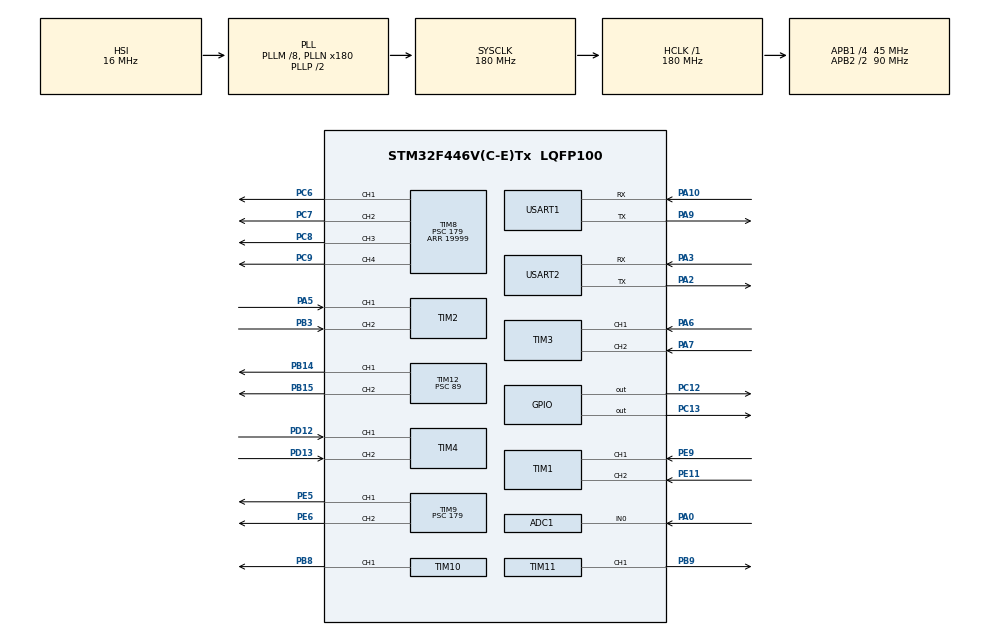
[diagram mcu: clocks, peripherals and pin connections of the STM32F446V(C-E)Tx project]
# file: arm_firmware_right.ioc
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ADC1.Channel-0\#ChannelRegularConversion=ADC_CHANNEL_0
ADC1.ContinuousConvMode=ENABLE
ADC1.DMAContinuousRequests=ENABLE
ADC1.NbrOfConversionFlag=1
ADC1.Rank-0\#ChannelRegularConversion=1
ADC1.SamplingTime-0\#ChannelRegularConversion=ADC_SAMPLETIME_480CYCLES
ADC1.master=1
Dma.ADC1.0.Direction=DMA_PERIPH_TO_MEMORY
Dma.ADC1.0.FIFOMode=DMA_FIFOMODE_DISABLE
Dma.ADC1.0.Instance=DMA2_Stream0
Dma.ADC1.0.MemDataAlignment=DMA_MDATAALIGN_HALFWORD
Dma.ADC1.0.MemInc=DMA_MINC_ENABLE
Dma.ADC1.0.Mode=DMA_CIRCULAR
Dma.ADC1.0.PeriphDataAlignment=DMA_PDATAALIGN_HALFWORD
Dma.ADC1.0.PeriphInc=DMA_PINC_DISABLE
Dma.ADC1.0.Priority=DMA_PRIORITY_LOW
Dma.Request0=ADC1
Mcu.Family=STM32F4
Mcu.Name=STM32F446V(C-E)Tx
Mcu.Package=LQFP100
NVIC.DMA2_Stream0_IRQn=true\:0\:0\:false\:false\:true\:false\:true\:true
NVIC.PriorityGroup=NVIC_PRIORITYGROUP_4
NVIC.USART1_IRQn=true\:0\:0\:false\:false\:true\:true\:true\:true
NVIC.USART2_IRQn=true\:0\:0\:false\:false\:true\:true\:true\:true
PA0-WKUP.Signal=ADCx_IN0
PA10.GPIO_PuPd=GPIO_PULLUP
PA10.Mode=Asynchronous
PA10.Signal=USART1_RX
PA13.Mode=Serial_Wire
PA13.Signal=SYS_JTMS-SWDIO
PA14.Mode=Serial_Wire
PA14.Signal=SYS_JTCK-SWCLK
PA2.Mode=Asynchronous
PA2.Signal=USART2_TX
PA3.Mode=Asynchronous
PA3.Signal=USART2_RX
PA5.Signal=S_TIM2_CH1_ETR
PA6.Signal=S_TIM3_CH1
PA7.Signal=S_TIM3_CH2
PA9.GPIO_PuPd=GPIO_PULLUP
PA9.Mode=Asynchronous
PA9.Signal=USART1_TX
PB14.Signal=S_TIM12_CH1
PB15.Signal=S_TIM12_CH2
PB3.Signal=S_TIM2_CH2
PB8.Signal=S_TIM10_CH1
PB9.Signal=S_TIM11_CH1
PC12.Signal=GPIO_Output
PC13.Signal=GPIO_Output
PC6.Signal=S_TIM8_CH1
PC7.Signal=S_TIM8_CH2
PC8.Signal=S_TIM8_CH3
PC9.Signal=S_TIM8_CH4
PD12.Signal=S_TIM4_CH1
PD13.Signal=S_TIM4_CH2
PE11.Signal=S_TIM1_CH2
PE5.Signal=S_TIM9_CH1
PE6.Signal=S_TIM9_CH2
PE9.Signal=S_TIM1_CH1
PH0-OSC_IN.Mode=HSE-External-Oscillator
PH0-OSC_IN.Signal=RCC_OSC_IN
PH1-OSC_OUT.Mode=HSE-External-Oscillator
PH1-OSC_OUT.Signal=RCC_OSC_OUT
ProjectManager.HeapSize=0x200
ProjectManager.StackSize=0x400
ProjectManager.TargetToolchain=STM32CubeIDE
RCC.AHBFreq_Value=180000000
RCC.APB1CLKDivider=RCC_HCLK_DIV4
RCC.APB1Freq_Value=45000000
RCC.APB1TimFreq_Value=90000000
RCC.APB2CLKDivider=RCC_HCLK_DIV2
RCC.APB2Freq_Value=90000000
RCC.APB2TimFreq_Value=180000000
RCC.CortexFreq_Value=180000000
RCC.HCLKFreq_Value=180000000
RCC.PLLM=8
RCC.PLLN=180
RCC.SYSCLKFreq_VALUE=180000000
RCC.SYSCLKSource=RCC_SYSCLKSOURCE_PLLCLK
RCC.USBFreq_Value=180000000
RCC.VCOOutputFreq_Value=360000000
SH.ADCx_IN0.0=ADC1_IN0,IN0
SH.S_TIM10_CH1.0=TIM10_CH1,PWM Generation1 CH1
SH.S_TIM11_CH1.0=TIM11_CH1,PWM Generation1 CH1
SH.S_TIM12_CH1.0=TIM12_CH1,PWM Generation1 CH1
SH.S_TIM12_CH2.0=TIM12_CH2,PWM Generation2 CH2
SH.S_TIM1_CH1.0=TIM1_CH1,Encoder_Interface
SH.S_TIM1_CH2.0=TIM1_CH2,Encoder_Interface
SH.S_TIM2_CH1_ETR.0=TIM2_CH1,Encoder_Interface
SH.S_TIM2_CH2.0=TIM2_CH2,Encoder_Interface
SH.S_TIM3_CH1.0=TIM3_CH1,Encoder_Interface
SH.S_TIM3_CH2.0=TIM3_CH2,Encoder_Interface
SH.S_TIM4_CH1.0=TIM4_CH1,Encoder_Interface
SH.S_TIM4_CH2.0=TIM4_CH2,Encoder_Interface
SH.S_TIM8_CH1.0=TIM8_CH1,PWM Generation1 CH1
SH.S_TIM8_CH2.0=TIM8_CH2,PWM Generation2 CH2
SH.S_TIM8_CH3.0=TIM8_CH3,PWM Generation3 CH3
SH.S_TIM8_CH4.0=TIM8_CH4,PWM Generation4 CH4
SH.S_TIM9_CH1.0=TIM9_CH1,PWM Generation1 CH1
SH.S_TIM9_CH2.0=TIM9_CH2,PWM Generation2 CH2
TIM1.EncoderMode=TIM_ENCODERMODE_TI12
TIM1.IC1Filter=8
TIM1.IC1Polarity=TIM_ICPOLARITY_FALLING
TIM1.IC2Filter=8
TIM10.Channel=TIM_CHANNEL_1
TIM10.Period=19999
TIM10.Prescaler=179
TIM10.Pulse=1525
TIM10.Pulse-PWM\ Generation1\ CH1=1500
TIM11.Channel=TIM_CHANNEL_1
TIM11.Period=19999
TIM11.Prescaler=179
TIM12.Channel-PWM\ Generation1\ CH1=TIM_CHANNEL_1
TIM12.Channel-PWM\ Generation2\ CH2=TIM_CHANNEL_2
TIM12.Period=19999
TIM12.Prescaler=89
TIM2.EncoderMode=TIM_ENCODERMODE_TI12
TIM2.IC1Filter=8
TIM2.IC1Polarity=TIM_ICPOLARITY_FALLING
TIM2.IC2Filter=8
TIM3.EncoderMode=TIM_ENCODERMODE_TI12
TIM3.IC1Filter=8
TIM3.IC1Polarity=TIM_ICPOLARITY_FALLING
TIM3.IC2Filter=8
TIM4.EncoderMode=TIM_ENCODERMODE_TI12
TIM4.IC1Filter=8
TIM4.IC1Polarity=TIM_ICPOLARITY_FALLING
TIM4.IC2Filter=8
TIM8.Channel-PWM\ Generation1\ CH1=TIM_CHANNEL_1
TIM8.Channel-PWM\ Generation2\ CH2=TIM_CHANNEL_2
TIM8.Channel-PWM\ Generation3\ CH3=TIM_CHANNEL_3
TIM8.Channel-PWM\ Generation4\ CH4=TIM_CHANNEL_4
TIM8.Period=19999
TIM8.Prescaler=179
TIM8.Pulse-PWM\ Generation1\ CH1=1525
TIM8.Pulse-PWM\ Generation2\ CH2=871
TIM8.Pulse-PWM\ Generation3\ CH3=1191
TIM8.Pulse-PWM\ Generation4\ CH4=1525
TIM9.Channel-PWM\ Generation1\ CH1=TIM_CHANNEL_1
TIM9.Channel-PWM\ Generation2\ CH2=TIM_CHANNEL_2
TIM9.Period=19999
TIM9.Prescaler=179
TIM9.Pulse-PWM\ Generation1\ CH1=1525
TIM9.Pulse-PWM\ Generation2\ CH2=1525
USART1.VirtualMode=VM_ASYNC
USART2.VirtualMode=VM_ASYNC
VP_TIM10_VS_ClockSourceINT.Mode=Enable_Timer
VP_TIM11_VS_ClockSourceINT.Mode=Enable_Timer
board=custom

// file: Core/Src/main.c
/* USER CODE BEGIN Header */
/**
 ******************************************************************************
 * @file           : main.c
 * @brief          : Main program body
 ******************************************************************************
 * @attention
 *
 * Copyright (c) 2026 STMicroelectronics.
 * All rights reserved.
 *
 * This software is licensed under terms that can be found in the LICENSE file
 * in the root directory of this software component.
 * If no LICENSE file comes with this software, it is provided AS-IS.
 *
 ******************************************************************************
 */
/* USER CODE END Header */
#include "main.h"

/* USER CODE BEGIN Includes */
#include "arm_protocol.h"
#include "encoder.h"
#include "joint_control.h"
#include "pid.h"
#include "servo.h"
#include <stdio.h>
#include <string.h>

/* USER CODE END Includes */

ADC_HandleTypeDef hadc1;
DMA_HandleTypeDef hdma_adc1;

TIM_HandleTypeDef htim1;
TIM_HandleTypeDef htim2;
TIM_HandleTypeDef htim3;
TIM_HandleTypeDef htim4;
TIM_HandleTypeDef htim8;
TIM_HandleTypeDef htim9;
TIM_HandleTypeDef htim10;
TIM_HandleTypeDef htim11;
TIM_HandleTypeDef htim12;

UART_HandleTypeDef huart1;
UART_HandleTypeDef huart2;

/* USER CODE BEGIN PV */
extern Encoder_t encoders[NUM_ENCODERS];

/* Current servo target angles (joint space, degrees) */
volatile float servo_deg[6] = {96.43f, 90.0f, 35.0f, 65.0f, 90, 0.0f};

volatile uint32_t adc_value = 0;

typedef enum {
  GRIPPER_IDLE = 0,
  GRIPPER_CLOSING,
  GRIPPER_OPENING
} GripperState_t;

volatile GripperState_t gripper_state = GRIPPER_IDLE;
volatile float gripper_angle = 0.0f;
volatile uint32_t dbg_adc_val_at_stop = 0;
volatile uint32_t dbg_gripper_stop_count = 0;
volatile uint8_t bypass_adc_check = 0;

/* -----------------------------------------------------------------------
 * Protocol V2.1 binary parser state (replaces legacy text "R:" parser)
 * Frame layout:
 *   [SOF1][SOF2][DEST][SRC][LEN_L][LEN_H][CMD][SEQ][PAYLOAD...][CRC_L][CRC_H]
 * ----------------------------------------------------------------------- */
static uint8_t arm_rx_byte;
static uint8_t rx_buffer[128];
static uint16_t rx_index = 0;
// static uint8_t  arm_dma_rx_buf[64];
//static uint8_t arm_frame_buf[ARM_PROTO_MAX_FRAME];
//static uint16_t arm_frame_idx = 0;
//static uint16_t arm_expected_len = 0;
//static uint8_t arm_parser_state = 0; /* 0=SOF1, 1=SOF2, 2=ACCUMULATE */
static uint8_t arm_last_seq = 0xFF;  /* for duplicate / stale drop  */

/* Last accepted joint positions in x100 (for Δθ guard) */
static int16_t arm_q_last[6] = {9643, 3500, 0, 0, 6000, 0};
/* Initial values match servo init: q0=96.43°, q1=35°, q2=0°, q3=0°, q4=60°,
 * q5=0° on the 0..90° joint-6 servo. */

/* Debug counters */
volatile uint32_t dbg_rx_ok = 0;
volatile uint32_t dbg_rx_delta = 0; /* frames dropped by Δθ guard */
volatile uint32_t dbg_rx_crc = 0;
volatile uint32_t dbg_rx_len = 0;
volatile uint32_t dbg_rx_raw_count = 0;
volatile uint32_t dbg_rx_line_count = 0;
volatile uint32_t dbg_rx_no_star = 0;
volatile uint32_t dbg_rx_bad_hex = 0;
volatile uint32_t dbg_rx_bad_prefix = 0;
volatile uint8_t dbg_rx_last_byte = 0;
volatile char dbg_rx_last_line[128] = {0};
/* USER CODE END PV */

void SystemClock_Config(void);
static void MX_GPIO_Init(void);
static void MX_DMA_Init(void);
static void MX_TIM1_Init(void);
static void MX_TIM2_Init(void);
static void MX_TIM3_Init(void);
static void MX_TIM4_Init(void);
static void MX_TIM8_Init(void);
static void MX_TIM9_Init(void);
static void MX_TIM12_Init(void);
static void MX_TIM10_Init(void);
static void MX_TIM11_Init(void);
static void MX_USART1_UART_Init(void);
static void MX_USART2_UART_Init(void);
static void MX_ADC1_Init(void);
/* USER CODE BEGIN PFP */
static void ARM_Proto_ResetParser(void);
/* USER CODE END PFP */

int main(void)
{

  /* MCU Configuration--------------------------------------------------------*/

  /* Reset of all peripherals, Initializes the Flash interface and the Systick. */
  HAL_Init();

  /* Configure the system clock */
  SystemClock_Config();

  /* Initialize all configured peripherals */
  MX_GPIO_Init();
  MX_DMA_Init();
  MX_TIM1_Init();
  MX_TIM2_Init();
  MX_TIM3_Init();
  MX_TIM4_Init();
  MX_TIM8_Init();
  MX_TIM9_Init();
  MX_TIM12_Init();
  MX_TIM10_Init();
  MX_TIM11_Init();
  MX_USART1_UART_Init();
  MX_USART2_UART_Init();
  MX_ADC1_Init();
  /* USER CODE BEGIN 2 */
  Servo_Init();

  Encoder_Init();

  //  JointControl_Init();
  ARM_Proto_ResetParser();

  // Test loopback check: gửi 1 byte và nhận lại ngay lập tức qua polling để
  // test loopback RX-TX
  //  uint8_t tx_byte = 0xAA;
  //  uint8_t rx_byte = 0;
  //  HAL_UART_Transmit(&huart2, &tx_byte, 1, 10);
  //  HAL_StatusTypeDef poll_res = HAL_UART_Receive(&huart2, &rx_byte, 1, 100);
  //  // Đợi tối đa 100ms if (poll_res == HAL_OK && rx_byte == 0xAA) {
  //      dbg_rx_raw_count = 9999; // Loopback thành công! (STM32 truyền nhận
  //      nội bộ và chân GPIO OK)
  //  } else {
  //      dbg_rx_raw_count = 8880 + (uint32_t)poll_res; // Lỗi: 8883 nếu không
  //      nhận lại được
  //  }

  if (HAL_ADC_Start_DMA(&hadc1, (uint32_t*)&adc_value, 1) != HAL_OK)
  {
    Error_Handler();
  }
  HAL_UART_Receive_IT(&huart2, &arm_rx_byte, 1);
  /* USER CODE END 2 */

  /* Infinite loop */
  while (1) {

    /* USER CODE BEGIN 3 */
    // JointControl_Update(0.010f);
    //    HAL_GPIO_TogglePin(GPIOC, GPIO_PIN_12);
    //
    //    HAL_Delay(20);
    //
    //    HAL_GPIO_TogglePin(GPIOC, GPIO_PIN_13);
    //    Encoder_Update();

    // Debug: xem raw counter từng encoder
    //    dbg_enc0 = (int32_t)TIM1->CNT;
    //    dbg_enc1 = (int32_t)TIM2->CNT;
    //    dbg_enc2 = (int32_t)TIM3->CNT;
    //    dbg_enc3 = (int32_t)TIM4->CNT;
    //    dbg_enc4 = (int32_t)TIM5->CNT;

    /* Auto-recovery from ADC Overrun (OVR) to keep ADC/DMA running */
    if (__HAL_ADC_GET_FLAG(&hadc1, ADC_FLAG_OVR)) {
      __HAL_ADC_CLEAR_FLAG(&hadc1, ADC_FLAG_OVR);
      hadc1.Instance->CR2 |= (uint32_t)ADC_CR2_SWSTART;
    }

    /* Gripper closed-loop control with ADC force feedback */
    if (bypass_adc_check == 2) {
      /* Diagnostic sweep mode: sweeps gripper_angle between 0 and 45 continuously */
      static int8_t sweep_dir = 1;
      if (sweep_dir == 1) {
        gripper_angle += 1.0f;
        if (gripper_angle >= 60.0f) {
          gripper_angle = 60.0f;
          sweep_dir = -1;
        }
      } else {
        gripper_angle -= 1.0f;
        if (gripper_angle <= 0.0f) {
          gripper_angle = 0.0f;
          sweep_dir = 1;
        }
      }
      gripper_state = GRIPPER_IDLE;
    } else if (gripper_state == GRIPPER_CLOSING) {
      if (bypass_adc_check == 0 && adc_value < 2500) {
        dbg_adc_val_at_stop = adc_value;
        dbg_gripper_stop_count++;
        gripper_state = GRIPPER_IDLE; /* Stop immediately! */
      } else {
        gripper_angle += 0.5f; /* Moderate speed: 0.5 deg per 10ms (50 deg/sec) */
        if (gripper_angle > 45.0f) {
          gripper_angle = 45.0f;
          gripper_state = GRIPPER_IDLE;
        }
      }
    } else if (gripper_state == GRIPPER_OPENING) {
      gripper_angle -= 1.0f; /* Opening speed: 1.0 deg per 10ms */
      if (gripper_angle < 0.0f) {
        gripper_angle = 0.0f;
        gripper_state = GRIPPER_IDLE;
      }
    }

    Set_Servo_Angle(0, servo_deg[1]);
    Set_Servo_Angle(1, servo_deg[2]);
    Set_Servo_Angle(2, servo_deg[3]);
    Set_Servo_Angle(3, servo_deg[4]);
    Set_Servo_Angle(4, servo_deg[5]);
    Set_Servo_Angle(5, gripper_angle); /* Command the gripper servo */
    Set_Servo_Angle(6, servo_deg[0]);
    HAL_Delay(10);

    // Call test pattern for PWM output testing
    //    Servo_Test_Patterns();
  }
  /* USER CODE END 3 */
}

void SystemClock_Config(void)
{
  RCC_OscInitTypeDef RCC_OscInitStruct = {0};
  RCC_ClkInitTypeDef RCC_ClkInitStruct = {0};

  /** Configure the main internal regulator output voltage
  */
  __HAL_RCC_PWR_CLK_ENABLE();
  __HAL_PWR_VOLTAGESCALING_CONFIG(PWR_REGULATOR_VOLTAGE_SCALE1);

  /** Initializes the RCC Oscillators according to the specified parameters
  * in the RCC_OscInitTypeDef structure.
  */
  RCC_OscInitStruct.OscillatorType = RCC_OSCILLATORTYPE_HSI;
  RCC_OscInitStruct.HSIState = RCC_HSI_ON;
  RCC_OscInitStruct.HSICalibrationValue = RCC_HSICALIBRATION_DEFAULT;
  RCC_OscInitStruct.PLL.PLLState = RCC_PLL_ON;
  RCC_OscInitStruct.PLL.PLLSource = RCC_PLLSOURCE_HSI;
  RCC_OscInitStruct.PLL.PLLM = 8;
  RCC_OscInitStruct.PLL.PLLN = 180;
  RCC_OscInitStruct.PLL.PLLP = RCC_PLLP_DIV2;
  RCC_OscInitStruct.PLL.PLLQ = 2;
  RCC_OscInitStruct.PLL.PLLR = 2;
  if (HAL_RCC_OscConfig(&RCC_OscInitStruct) != HAL_OK)
  {
    Error_Handler();
  }

  /** Activate the Over-Drive mode
  */
  if (HAL_PWREx_EnableOverDrive() != HAL_OK)
  {
    Error_Handler();
  }

  /** Initializes the CPU, AHB and APB buses clocks
  */
  RCC_ClkInitStruct.ClockType = RCC_CLOCKTYPE_HCLK|RCC_CLOCKTYPE_SYSCLK
                              |RCC_CLOCKTYPE_PCLK1|RCC_CLOCKTYPE_PCLK2;
  RCC_ClkInitStruct.SYSCLKSource = RCC_SYSCLKSOURCE_PLLCLK;
  RCC_ClkInitStruct.AHBCLKDivider = RCC_SYSCLK_DIV1;
  RCC_ClkInitStruct.APB1CLKDivider = RCC_HCLK_DIV4;
  RCC_ClkInitStruct.APB2CLKDivider = RCC_HCLK_DIV2;

  if (HAL_RCC_ClockConfig(&RCC_ClkInitStruct, FLASH_LATENCY_5) != HAL_OK)
  {
    Error_Handler();
  }
}

static void MX_ADC1_Init(void)
{

  ADC_ChannelConfTypeDef sConfig = {0};

  /** Configure the global features of the ADC (Clock, Resolution, Data Alignment and number of conversion)
  */
  hadc1.Instance = ADC1;
  hadc1.Init.ClockPrescaler = ADC_CLOCK_SYNC_PCLK_DIV4;
  hadc1.Init.Resolution = ADC_RESOLUTION_12B;
  hadc1.Init.ScanConvMode = DISABLE;
  hadc1.Init.ContinuousConvMode = ENABLE;
  hadc1.Init.DiscontinuousConvMode = DISABLE;
  hadc1.Init.ExternalTrigConvEdge = ADC_EXTERNALTRIGCONVEDGE_NONE;
  hadc1.Init.ExternalTrigConv = ADC_SOFTWARE_START;
  hadc1.Init.DataAlign = ADC_DATAALIGN_RIGHT;
  hadc1.Init.NbrOfConversion = 1;
  hadc1.Init.DMAContinuousRequests = ENABLE;
  hadc1.Init.EOCSelection = ADC_EOC_SINGLE_CONV;
  if (HAL_ADC_Init(&hadc1) != HAL_OK)
  {
    Error_Handler();
  }

  /** Configure for the selected ADC regular channel its corresponding rank in the sequencer and its sample time.
  */
  sConfig.Channel = ADC_CHANNEL_0;
  sConfig.Rank = 1;
  sConfig.SamplingTime = ADC_SAMPLETIME_480CYCLES;
  if (HAL_ADC_ConfigChannel(&hadc1, &sConfig) != HAL_OK)
  {
    Error_Handler();
  }
  /* USER CODE BEGIN ADC1_Init 2 */
  hadc1.Init.DMAContinuousRequests = ENABLE;
  if (HAL_ADC_Init(&hadc1) != HAL_OK)
  {
    Error_Handler();
  }
  /* USER CODE END ADC1_Init 2 */

}

static void MX_TIM1_Init(void)
{

  TIM_Encoder_InitTypeDef sConfig = {0};
  TIM_MasterConfigTypeDef sMasterConfig = {0};

  htim1.Instance = TIM1;
  htim1.Init.Prescaler = 0;
  htim1.Init.CounterMode = TIM_COUNTERMODE_UP;
  htim1.Init.Period = 65535;
  htim1.Init.ClockDivision = TIM_CLOCKDIVISION_DIV1;
  htim1.Init.RepetitionCounter = 0;
  htim1.Init.AutoReloadPreload = TIM_AUTORELOAD_PRELOAD_DISABLE;
  sConfig.EncoderMode = TIM_ENCODERMODE_TI12;
  sConfig.IC1Polarity = TIM_ICPOLARITY_FALLING;
  sConfig.IC1Selection = TIM_ICSELECTION_DIRECTTI;
  sConfig.IC1Prescaler = TIM_ICPSC_DIV1;
  sConfig.IC1Filter = 8;
  sConfig.IC2Polarity = TIM_ICPOLARITY_RISING;
  sConfig.IC2Selection = TIM_ICSELECTION_DIRECTTI;
  sConfig.IC2Prescaler = TIM_ICPSC_DIV1;
  sConfig.IC2Filter = 8;
  if (HAL_TIM_Encoder_Init(&htim1, &sConfig) != HAL_OK)
  {
    Error_Handler();
  }
  sMasterConfig.MasterOutputTrigger = TIM_TRGO_RESET;
  sMasterConfig.MasterSlaveMode = TIM_MASTERSLAVEMODE_DISABLE;
  if (HAL_TIMEx_MasterConfigSynchronization(&htim1, &sMasterConfig) != HAL_OK)
  {
    Error_Handler();
  }

}

static void MX_TIM2_Init(void)
{

  TIM_Encoder_InitTypeDef sConfig = {0};
  TIM_MasterConfigTypeDef sMasterConfig = {0};

  htim2.Instance = TIM2;
  htim2.Init.Prescaler = 0;
  htim2.Init.CounterMode = TIM_COUNTERMODE_UP;
  htim2.Init.Period = 4294967295;
  htim2.Init.ClockDivision = TIM_CLOCKDIVISION_DIV1;
  htim2.Init.AutoReloadPreload = TIM_AUTORELOAD_PRELOAD_DISABLE;
  sConfig.EncoderMode = TIM_ENCODERMODE_TI12;
  sConfig.IC1Polarity = TIM_ICPOLARITY_FALLING;
  sConfig.IC1Selection = TIM_ICSELECTION_DIRECTTI;
  sConfig.IC1Prescaler = TIM_ICPSC_DIV1;
  sConfig.IC1Filter = 8;
  sConfig.IC2Polarity = TIM_ICPOLARITY_RISING;
  sConfig.IC2Selection = TIM_ICSELECTION_DIRECTTI;
  sConfig.IC2Prescaler = TIM_ICPSC_DIV1;
  sConfig.IC2Filter = 8;
  if (HAL_TIM_Encoder_Init(&htim2, &sConfig) != HAL_OK)
  {
    Error_Handler();
  }
  sMasterConfig.MasterOutputTrigger = TIM_TRGO_RESET;
  sMasterConfig.MasterSlaveMode = TIM_MASTERSLAVEMODE_DISABLE;
  if (HAL_TIMEx_MasterConfigSynchronization(&htim2, &sMasterConfig) != HAL_OK)
  {
    Error_Handler();
  }

}

static void MX_TIM3_Init(void)
{

  TIM_Encoder_InitTypeDef sConfig = {0};
  TIM_MasterConfigTypeDef sMasterConfig = {0};

  htim3.Instance = TIM3;
  htim3.Init.Prescaler = 0;
  htim3.Init.CounterMode = TIM_COUNTERMODE_UP;
  htim3.Init.Period = 65535;
  htim3.Init.ClockDivision = TIM_CLOCKDIVISION_DIV1;
  htim3.Init.AutoReloadPreload = TIM_AUTORELOAD_PRELOAD_DISABLE;
  sConfig.EncoderMode = TIM_ENCODERMODE_TI12;
  sConfig.IC1Polarity = TIM_ICPOLARITY_FALLING;
  sConfig.IC1Selection = TIM_ICSELECTION_DIRECTTI;
  sConfig.IC1Prescaler = TIM_ICPSC_DIV1;
  sConfig.IC1Filter = 8;
  sConfig.IC2Polarity = TIM_ICPOLARITY_RISING;
  sConfig.IC2Selection = TIM_ICSELECTION_DIRECTTI;
  sConfig.IC2Prescaler = TIM_ICPSC_DIV1;
  sConfig.IC2Filter = 8;
  if (HAL_TIM_Encoder_Init(&htim3, &sConfig) != HAL_OK)
  {
    Error_Handler();
  }
  sMasterConfig.MasterOutputTrigger = TIM_TRGO_RESET;
  sMasterConfig.MasterSlaveMode = TIM_MASTERSLAVEMODE_DISABLE;
  if (HAL_TIMEx_MasterConfigSynchronization(&htim3, &sMasterConfig) != HAL_OK)
  {
    Error_Handler();
  }

}

static void MX_TIM4_Init(void)
{

  TIM_Encoder_InitTypeDef sConfig = {0};
  TIM_MasterConfigTypeDef sMasterConfig = {0};

  htim4.Instance = TIM4;
  htim4.Init.Prescaler = 0;
  htim4.Init.CounterMode = TIM_COUNTERMODE_UP;
  htim4.Init.Period = 65535;
  htim4.Init.ClockDivision = TIM_CLOCKDIVISION_DIV1;
  htim4.Init.AutoReloadPreload = TIM_AUTORELOAD_PRELOAD_DISABLE;
  sConfig.EncoderMode = TIM_ENCODERMODE_TI12;
  sConfig.IC1Polarity = TIM_ICPOLARITY_FALLING;
  sConfig.IC1Selection = TIM_ICSELECTION_DIRECTTI;
  sConfig.IC1Prescaler = TIM_ICPSC_DIV1;
  sConfig.IC1Filter = 8;
  sConfig.IC2Polarity = TIM_ICPOLARITY_RISING;
  sConfig.IC2Selection = TIM_ICSELECTION_DIRECTTI;
  sConfig.IC2Prescaler = TIM_ICPSC_DIV1;
  sConfig.IC2Filter = 8;
  if (HAL_TIM_Encoder_Init(&htim4, &sConfig) != HAL_OK)
  {
    Error_Handler();
  }
  sMasterConfig.MasterOutputTrigger = TIM_TRGO_RESET;
  sMasterConfig.MasterSlaveMode = TIM_MASTERSLAVEMODE_DISABLE;
  if (HAL_TIMEx_MasterConfigSynchronization(&htim4, &sMasterConfig) != HAL_OK)
  {
    Error_Handler();
  }

}

static void MX_TIM8_Init(void)
{

  TIM_MasterConfigTypeDef sMasterConfig = {0};
  TIM_OC_InitTypeDef sConfigOC = {0};
  TIM_BreakDeadTimeConfigTypeDef sBreakDeadTimeConfig = {0};

  htim8.Instance = TIM8;
  htim8.Init.Prescaler = 179;
  htim8.Init.CounterMode = TIM_COUNTERMODE_UP;
  htim8.Init.Period = 19999;
  htim8.Init.ClockDivision = TIM_CLOCKDIVISION_DIV1;
  htim8.Init.RepetitionCounter = 0;
  htim8.Init.AutoReloadPreload = TIM_AUTORELOAD_PRELOAD_DISABLE;
  if (HAL_TIM_PWM_Init(&htim8) != HAL_OK)
  {
    Error_Handler();
  }
  sMasterConfig.MasterOutputTrigger = TIM_TRGO_RESET;
  sMasterConfig.MasterSlaveMode = TIM_MASTERSLAVEMODE_DISABLE;
  if (HAL_TIMEx_MasterConfigSynchronization(&htim8, &sMasterConfig) != HAL_OK)
  {
    Error_Handler();
  }
  sConfigOC.OCMode = TIM_OCMODE_PWM1;
  sConfigOC.Pulse = 1525;
  sConfigOC.OCPolarity = TIM_OCPOLARITY_HIGH;
  sConfigOC.OCNPolarity = TIM_OCNPOLARITY_HIGH;
  sConfigOC.OCFastMode = TIM_OCFAST_DISABLE;
  sConfigOC.OCIdleState = TIM_OCIDLESTATE_RESET;
  sConfigOC.OCNIdleState = TIM_OCNIDLESTATE_RESET;
  if (HAL_TIM_PWM_ConfigChannel(&htim8, &sConfigOC, TIM_CHANNEL_1) != HAL_OK)
  {
    Error_Handler();
  }
  sConfigOC.Pulse = 871;
  if (HAL_TIM_PWM_ConfigChannel(&htim8, &sConfigOC, TIM_CHANNEL_2) != HAL_OK)
  {
    Error_Handler();
  }
  sConfigOC.Pulse = 1191;
  if (HAL_TIM_PWM_ConfigChannel(&htim8, &sConfigOC, TIM_CHANNEL_3) != HAL_OK)
  {
    Error_Handler();
  }
  sConfigOC.Pulse = 1525;
  if (HAL_TIM_PWM_ConfigChannel(&htim8, &sConfigOC, TIM_CHANNEL_4) != HAL_OK)
  {
    Error_Handler();
  }
  sBreakDeadTimeConfig.OffStateRunMode = TIM_OSSR_DISABLE;
  sBreakDeadTimeConfig.OffStateIDLEMode = TIM_OSSI_DISABLE;
  sBreakDeadTimeConfig.LockLevel = TIM_LOCKLEVEL_OFF;
  sBreakDeadTimeConfig.DeadTime = 0;
  sBreakDeadTimeConfig.BreakState = TIM_BREAK_DISABLE;
  sBreakDeadTimeConfig.BreakPolarity = TIM_BREAKPOLARITY_HIGH;
  sBreakDeadTimeConfig.AutomaticOutput = TIM_AUTOMATICOUTPUT_DISABLE;
  if (HAL_TIMEx_ConfigBreakDeadTime(&htim8, &sBreakDeadTimeConfig) != HAL_OK)
  {
    Error_Handler();
  }
  HAL_TIM_MspPostInit(&htim8);

}

static void MX_TIM9_Init(void)
{

  TIM_OC_InitTypeDef sConfigOC = {0};

  htim9.Instance = TIM9;
  htim9.Init.Prescaler = 179;
  htim9.Init.CounterMode = TIM_COUNTERMODE_UP;
  htim9.Init.Period = 19999;
  htim9.Init.ClockDivision = TIM_CLOCKDIVISION_DIV1;
  htim9.Init.AutoReloadPreload = TIM_AUTORELOAD_PRELOAD_DISABLE;
  if (HAL_TIM_PWM_Init(&htim9) != HAL_OK)
  {
    Error_Handler();
  }
  sConfigOC.OCMode = TIM_OCMODE_PWM1;
  sConfigOC.Pulse = 1525;
  sConfigOC.OCPolarity = TIM_OCPOLARITY_HIGH;
  sConfigOC.OCFastMode = TIM_OCFAST_DISABLE;
  if (HAL_TIM_PWM_ConfigChannel(&htim9, &sConfigOC, TIM_CHANNEL_1) != HAL_OK)
  {
    Error_Handler();
  }
  if (HAL_TIM_PWM_ConfigChannel(&htim9, &sConfigOC, TIM_CHANNEL_2) != HAL_OK)
  {
    Error_Handler();
  }
  HAL_TIM_MspPostInit(&htim9);

}

static void MX_TIM10_Init(void)
{

  TIM_OC_InitTypeDef sConfigOC = {0};

  htim10.Instance = TIM10;
  htim10.Init.Prescaler = 179;
  htim10.Init.CounterMode = TIM_COUNTERMODE_UP;
  htim10.Init.Period = 19999;
  htim10.Init.ClockDivision = TIM_CLOCKDIVISION_DIV1;
  htim10.Init.AutoReloadPreload = TIM_AUTORELOAD_PRELOAD_DISABLE;
  if (HAL_TIM_Base_Init(&htim10) != HAL_OK)
  {
    Error_Handler();
  }
  if (HAL_TIM_PWM_Init(&htim10) != HAL_OK)
  {
    Error_Handler();
  }
  sConfigOC.OCMode = TIM_OCMODE_PWM1;
  sConfigOC.Pulse = 1525;
  sConfigOC.OCPolarity = TIM_OCPOLARITY_HIGH;
  sConfigOC.OCFastMode = TIM_OCFAST_DISABLE;
  if (HAL_TIM_PWM_ConfigChannel(&htim10, &sConfigOC, TIM_CHANNEL_1) != HAL_OK)
  {
    Error_Handler();
  }
  HAL_TIM_MspPostInit(&htim10);

}

static void MX_TIM11_Init(void)
{

  TIM_OC_InitTypeDef sConfigOC = {0};

  htim11.Instance = TIM11;
  htim11.Init.Prescaler = 179;
  htim11.Init.CounterMode = TIM_COUNTERMODE_UP;
  htim11.Init.Period = 19999;
  htim11.Init.ClockDivision = TIM_CLOCKDIVISION_DIV1;
  htim11.Init.AutoReloadPreload = TIM_AUTORELOAD_PRELOAD_DISABLE;
  if (HAL_TIM_Base_Init(&htim11) != HAL_OK)
  {
    Error_Handler();
  }
  if (HAL_TIM_PWM_Init(&htim11) != HAL_OK)
  {
    Error_Handler();
  }
  sConfigOC.OCMode = TIM_OCMODE_PWM1;
  sConfigOC.Pulse = 0;
  sConfigOC.OCPolarity = TIM_OCPOLARITY_HIGH;
  sConfigOC.OCFastMode = TIM_OCFAST_DISABLE;
  if (HAL_TIM_PWM_ConfigChannel(&htim11, &sConfigOC, TIM_CHANNEL_1) != HAL_OK)
  {
    Error_Handler();
  }
  HAL_TIM_MspPostInit(&htim11);

}

static void MX_TIM12_Init(void)
{

  TIM_OC_InitTypeDef sConfigOC = {0};

  htim12.Instance = TIM12;
  htim12.Init.Prescaler = 89;
  htim12.Init.CounterMode = TIM_COUNTERMODE_UP;
  htim12.Init.Period = 19999;
  htim12.Init.ClockDivision = TIM_CLOCKDIVISION_DIV1;
  htim12.Init.AutoReloadPreload = TIM_AUTORELOAD_PRELOAD_DISABLE;
  if (HAL_TIM_PWM_Init(&htim12) != HAL_OK)
  {
    Error_Handler();
  }
  sConfigOC.OCMode = TIM_OCMODE_PWM1;
  sConfigOC.Pulse = 0;
  sConfigOC.OCPolarity = TIM_OCPOLARITY_HIGH;
  sConfigOC.OCFastMode = TIM_OCFAST_DISABLE;
  if (HAL_TIM_PWM_ConfigChannel(&htim12, &sConfigOC, TIM_CHANNEL_1) != HAL_OK)
  {
    Error_Handler();
  }
  if (HAL_TIM_PWM_ConfigChannel(&htim12, &sConfigOC, TIM_CHANNEL_2) != HAL_OK)
  {
    Error_Handler();
  }
  HAL_TIM_MspPostInit(&htim12);

}

static void MX_USART1_UART_Init(void)
{

  huart1.Instance = USART1;
  huart1.Init.BaudRate = 115200;
  huart1.Init.WordLength = UART_WORDLENGTH_8B;
  huart1.Init.StopBits = UART_STOPBITS_1;
  huart1.Init.Parity = UART_PARITY_NONE;
  huart1.Init.Mode = UART_MODE_TX_RX;
  huart1.Init.HwFlowCtl = UART_HWCONTROL_NONE;
  huart1.Init.OverSampling = UART_OVERSAMPLING_16;
  if (HAL_UART_Init(&huart1) != HAL_OK)
  {
    Error_Handler();
  }

}

static void MX_USART2_UART_Init(void)
{

  huart2.Instance = USART2;
  huart2.Init.BaudRate = 115200;
  huart2.Init.WordLength = UART_WORDLENGTH_8B;
  huart2.Init.StopBits = UART_STOPBITS_1;
  huart2.Init.Parity = UART_PARITY_NONE;
  huart2.Init.Mode = UART_MODE_TX_RX;
  huart2.Init.HwFlowCtl = UART_HWCONTROL_NONE;
  huart2.Init.OverSampling = UART_OVERSAMPLING_16;
  if (HAL_UART_Init(&huart2) != HAL_OK)
  {
    Error_Handler();
  }

}

static void MX_DMA_Init(void)
{

  /* DMA controller clock enable */
  __HAL_RCC_DMA2_CLK_ENABLE();

  /* DMA interrupt init */
  /* DMA2_Stream0_IRQn interrupt configuration */
  HAL_NVIC_SetPriority(DMA2_Stream0_IRQn, 0, 0);
  HAL_NVIC_EnableIRQ(DMA2_Stream0_IRQn);

}

static void MX_GPIO_Init(void)
{
  GPIO_InitTypeDef GPIO_InitStruct = {0};

  /* GPIO Ports Clock Enable */
  __HAL_RCC_GPIOE_CLK_ENABLE();
  __HAL_RCC_GPIOC_CLK_ENABLE();
  __HAL_RCC_GPIOH_CLK_ENABLE();
  __HAL_RCC_GPIOA_CLK_ENABLE();
  __HAL_RCC_GPIOB_CLK_ENABLE();
  __HAL_RCC_GPIOD_CLK_ENABLE();

  /*Configure GPIO pin Output Level */
  HAL_GPIO_WritePin(GPIOC, GPIO_PIN_13|GPIO_PIN_12, GPIO_PIN_RESET);

  /*Configure GPIO pins : PC13 PC12 */
  GPIO_InitStruct.Pin = GPIO_PIN_13|GPIO_PIN_12;
  GPIO_InitStruct.Mode = GPIO_MODE_OUTPUT_PP;
  GPIO_InitStruct.Pull = GPIO_NOPULL;
  GPIO_InitStruct.Speed = GPIO_SPEED_FREQ_LOW;
  HAL_GPIO_Init(GPIOC, &GPIO_InitStruct);

}

/* USER CODE BEGIN 4 */
static void ARM_Proto_ProcessFrame(const uint8_t *frame, uint16_t frame_len) {
  /* Basic sanity */
  if (frame_len < ARM_PROTO_FRAME_OVERHEAD)
    return;
  if (frame[ARM_PROTO_OFF_SOF1] != ARM_PROTO_SOF1)
    return;
  if (frame[ARM_PROTO_OFF_SOF2] != ARM_PROTO_SOF2)
    return;

  uint8_t dest = frame[ARM_PROTO_OFF_DEST];
  uint8_t cmd = frame[ARM_PROTO_OFF_CMD];
  uint8_t seq = frame[ARM_PROTO_OFF_SEQ];
  uint16_t payload_len = ARM_Proto_ReadU16LE(&frame[ARM_PROTO_OFF_LEN_L]);

  /* DEST filter — accept own address or broadcast */
  if (dest != ARM_PROTO_MY_ADDR && dest != ARM_PROTO_ADDR_BROADCAST)
    return;

  /* SEQ dedup: drop frames with same SEQ as last processed (duplicate TX) */
  if (seq == arm_last_seq && cmd == ARM_PROTO_CMD_ARM_JOINT)
    return;

  /* CRC: covers bytes [DEST .. last PAYLOAD byte] = 6 + payload_len bytes */
  uint16_t rx_crc = ARM_Proto_ReadU16LE(&frame[8u + payload_len]);
  uint16_t calc_crc = ARM_Proto_Crc16(&frame[2], (uint16_t)(6u + payload_len));
  if (rx_crc != calc_crc) {
    dbg_rx_crc++;
    return;
  }

  const uint8_t *payload = &frame[ARM_PROTO_OFF_PAYLOAD];

  switch (cmd) {
  case ARM_PROTO_CMD_ARM_JOINT: {
    if (payload_len != ARM_PROTO_PAYLOAD_JOINT) {
      dbg_rx_len++;
      return;
    }

    uint8_t motion_mode = payload[0];
    uint16_t max_delta_x100 = ARM_Proto_ReadU16LE(&payload[16]);

    int16_t q_new[6];
    q_new[0] = ARM_Proto_ReadS16LE(&payload[2]);
    q_new[1] = ARM_Proto_ReadS16LE(&payload[4]);
    q_new[2] = ARM_Proto_ReadS16LE(&payload[6]);
    q_new[3] = ARM_Proto_ReadS16LE(&payload[8]);
    q_new[4] = ARM_Proto_ReadS16LE(&payload[10]);
    q_new[5] = ARM_Proto_ReadS16LE(&payload[12]);

    /* Δθ guard — drop frame if any joint exceeds max_delta_x100 */
    if (max_delta_x100 > 0u) {
      for (int i = 0; i < 6; i++) {
        int32_t delta = (int32_t)q_new[i] - (int32_t)arm_q_last[i];
        if (delta < 0)
          delta = -delta;
        if ((uint16_t)delta > max_delta_x100) {
          dbg_rx_delta++;
          return;
        }
      }
    }

    /* Apply motion */
    if (motion_mode == ARM_PROTO_MOTION_ABS ||
        motion_mode == ARM_PROTO_MOTION_HOME) {

//      for (int i = 0; i < 6; i++) {
//        servo_deg[i] = ARM_Proto_X100ToDeg(q_new[i]);
//      }
    		servo_deg[0] = -ARM_Proto_X100ToDeg(q_new[0])+96.43;
        servo_deg[1] = -ARM_Proto_X100ToDeg(q_new[1])+90;
        servo_deg[2] = ARM_Proto_X100ToDeg(q_new[2])+35;
        servo_deg[3] = 65-ARM_Proto_X100ToDeg(q_new[3]);
        servo_deg[4] = -ARM_Proto_X100ToDeg(q_new[4])+90;
        servo_deg[5] = ARM_Proto_X100ToDeg(q_new[5]);
      /* Update last accepted position */
      for (int i = 0; i < 6; i++)
        arm_q_last[i] = q_new[i];
      arm_last_seq = seq;
      dbg_rx_ok++;

    } else if (motion_mode == ARM_PROTO_MOTION_ESTOP) {
      arm_last_seq = seq;
    }
    break;
  }

  case ARM_PROTO_CMD_ARM_GRIPPER: {
    if (payload_len != ARM_PROTO_PAYLOAD_GRIPPER) {
      dbg_rx_len++;
      return;
    }
    uint8_t action = payload[0];
    if (action == 1) { /* grip */
      gripper_state = GRIPPER_CLOSING;
    } else if (action == 0) { /* release */
      gripper_state = GRIPPER_OPENING;
    } else if (action == 2) { /* toggle */
      if (gripper_state == GRIPPER_CLOSING || gripper_angle > 90.0f) {
        gripper_state = GRIPPER_OPENING;
      } else {
        gripper_state = GRIPPER_CLOSING;
      }
    }
    arm_last_seq = seq;
    dbg_rx_ok++;
    break;
  }

  default:
    break;
  }
}

void HAL_UART_RxCpltCallback(UART_HandleTypeDef *huart) {
  if (huart->Instance == USART2) {
    dbg_rx_raw_count++;
    uint8_t b = arm_rx_byte;
    dbg_rx_last_byte = b;

    if (b == '\n' || b == '\r') {
      if (rx_index > 0) {
        rx_buffer[rx_index] = '\0';

        // Copy to debug buffer
        strncpy((char *)dbg_rx_last_line, (char *)rx_buffer,
                sizeof(dbg_rx_last_line) - 1);
        dbg_rx_last_line[sizeof(dbg_rx_last_line) - 1] = '\0';
        dbg_rx_line_count++;

        if (strcmp((char *)rx_buffer, "R:GRIP") == 0 || strcmp((char *)rx_buffer, "L:GRIP") == 0) {
          gripper_state = GRIPPER_CLOSING;
          dbg_rx_ok++;
          rx_index = 0;
        } else if (strcmp((char *)rx_buffer, "R:RELEASE") == 0 || strcmp((char *)rx_buffer, "L:RELEASE") == 0) {
          gripper_state = GRIPPER_OPENING;
          dbg_rx_ok++;
          rx_index = 0;
        } else {
          // Check checksum
          char *star = strchr((char *)rx_buffer, '*');
          if (star != NULL) {
            *star = '\0';
            char *checksum_str = star + 1;

            uint8_t calc_sum = 0;
            for (char *c_ptr = (char *)rx_buffer; c_ptr < star; c_ptr++) {
              calc_sum ^= (uint8_t)(*c_ptr);
            }

            unsigned int rx_sum = 0;
            if (sscanf(checksum_str, "%2X", &rx_sum) == 1) {
              if (calc_sum == (uint8_t)rx_sum) {
                if (strcmp((char *)rx_buffer, "R:GRIP") == 0 || strcmp((char *)rx_buffer, "L:GRIP") == 0) {
                  gripper_state = GRIPPER_CLOSING;
                  dbg_rx_ok++;
                } else if (strcmp((char *)rx_buffer, "R:RELEASE") == 0 || strcmp((char *)rx_buffer, "L:RELEASE") == 0) {
                  gripper_state = GRIPPER_OPENING;
                  dbg_rx_ok++;
                } else {
#if defined(ARM_LEFT) || (ARM_PROTO_MY_ADDR == 0x02u)
                  const char *prefix = "L:";
#else
                  const char *prefix = "R:";
#endif
                  if (strncmp((char *)rx_buffer, prefix, 2) == 0) {
                    int q[6];
                    if (sscanf((char *)rx_buffer + 2, "%d,%d,%d,%d,%d,%d", &q[0],
                               &q[1], &q[2], &q[3], &q[4], &q[5]) == 6) {
                      dbg_rx_ok++;
                      servo_deg[0] =-(float)q[0] / 100.0f+96.43;
                      servo_deg[1] =-(float)q[1] / 100.0f+90;
                      servo_deg[2] = (float)q[2] / 100.0f+35;
                      servo_deg[3] = 65.0f-(float)q[3] / 100.0f;
                      servo_deg[4] = -(float)q[4] / 100.0f+90;
                      servo_deg[5] = (float)q[5] / 100.0f;
                    } else {
                      dbg_rx_len++;
                    }
                  } else {
                    dbg_rx_bad_prefix++;
                  }
                }
              } else {
                dbg_rx_crc++;
              }
            } else {
              dbg_rx_bad_hex++;
            }
          } else {
            dbg_rx_no_star++;
          }
          rx_index = 0;
        }
      }
    } else {
      if (rx_index < sizeof(rx_buffer) - 1) {
        rx_buffer[rx_index++] = b;
      } else {
        rx_index = 0;
      }
    }

    if (HAL_UART_Receive_IT(&huart2, &arm_rx_byte, 1) != HAL_OK) {
      HAL_UART_AbortReceive(&huart2);
      HAL_UART_Receive_IT(&huart2, &arm_rx_byte, 1);
    }
  }
}

static void ARM_Proto_ResetParser(void) { rx_index = 0; }

void HAL_UART_ErrorCallback(UART_HandleTypeDef *huart) {
  if (huart->Instance == USART2) {
    __HAL_UART_CLEAR_OREFLAG(huart);
    ARM_Proto_ResetParser();
    if (HAL_UART_Receive_IT(huart, &arm_rx_byte, 1) != HAL_OK) {
      HAL_UART_AbortReceive(huart);
      HAL_UART_Receive_IT(huart, &arm_rx_byte, 1);
    }
  }
}
/* USER CODE END 4 */

void Error_Handler(void)
{
  __disable_irq();
  while (1) {
  }
}
#ifdef USE_FULL_ASSERT
/**
  * @brief  Reports the name of the source file and the source line number
  *         where the assert_param error has occurred.
  * @param  file: pointer to the source file name
  * @param  line: assert_param error line source number
  * @retval None
  */
void assert_failed(uint8_t *file, uint32_t line)
{
  /* USER CODE BEGIN 6 */
  /* User can add his own implementation to report the file name and line
     number, ex: printf("Wrong parameters value: file %s on line %d\r\n", file,
     line) */
  /* USER CODE END 6 */
}
#endif /* USE_FULL_ASSERT */
